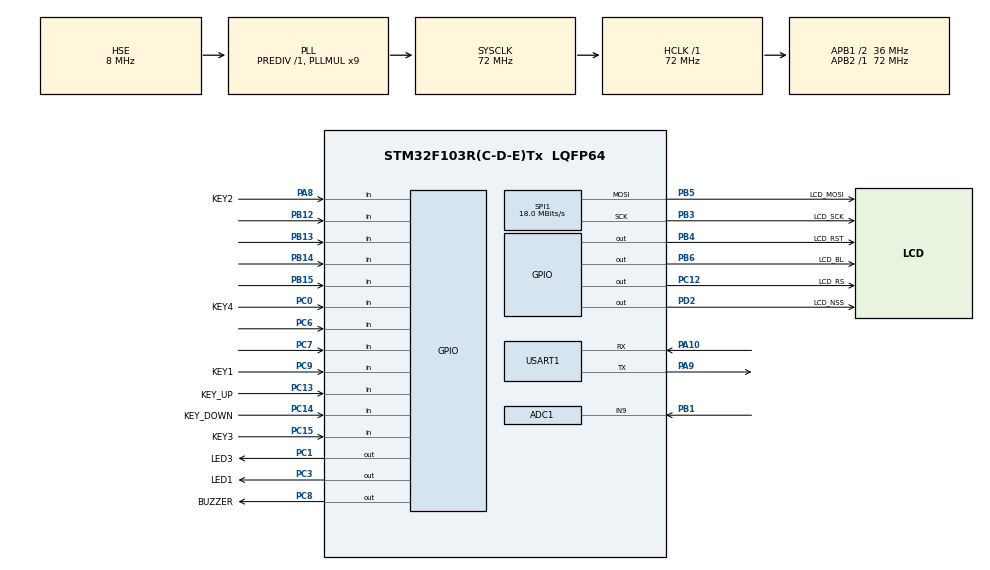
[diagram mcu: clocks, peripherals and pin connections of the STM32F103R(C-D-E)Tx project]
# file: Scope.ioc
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ADC1.Channel-0\#ChannelRegularConversion=ADC_CHANNEL_9
ADC1.Channel-1\#ChannelInjectedConversion=ADC_CHANNEL_9
ADC1.Channel-2\#ChannelInjectedConversion=ADC_CHANNEL_VREFINT
ADC1.EnableInjectedConversion=ENABLE
ADC1.ExternalTrigConv=ADC_EXTERNALTRIGCONV_T8_TRGO
ADC1.ExternalTrigInjecConv=ADC_EXTERNALTRIGINJECCONV_T2_TRGO
ADC1.InjNumberOfConversion=2
ADC1.InjectedOffset-1\#ChannelInjectedConversion=0
ADC1.InjectedOffset-2\#ChannelInjectedConversion=0
ADC1.InjectedRank-1\#ChannelInjectedConversion=1
ADC1.InjectedRank-2\#ChannelInjectedConversion=2
ADC1.NbrOfConversionFlag=1
ADC1.Rank-0\#ChannelRegularConversion=1
ADC1.SamplingTime-0\#ChannelRegularConversion=ADC_SAMPLETIME_1CYCLE_5
ADC1.SamplingTime-1\#ChannelInjectedConversion=ADC_SAMPLETIME_1CYCLE_5
ADC1.SamplingTime-2\#ChannelInjectedConversion=ADC_SAMPLETIME_239CYCLES_5
ADC1.master=1
Dma.Request0=SPI1_TX
Dma.SPI1_TX.0.Direction=DMA_MEMORY_TO_PERIPH
Dma.SPI1_TX.0.Instance=DMA1_Channel3
Dma.SPI1_TX.0.MemDataAlignment=DMA_MDATAALIGN_BYTE
Dma.SPI1_TX.0.MemInc=DMA_MINC_ENABLE
Dma.SPI1_TX.0.Mode=DMA_NORMAL
Dma.SPI1_TX.0.PeriphDataAlignment=DMA_PDATAALIGN_BYTE
Dma.SPI1_TX.0.PeriphInc=DMA_PINC_DISABLE
Dma.SPI1_TX.0.Priority=DMA_PRIORITY_LOW
Mcu.Family=STM32F1
Mcu.Name=STM32F103R(C-D-E)Tx
Mcu.Package=LQFP64
NVIC.ADC1_2_IRQn=true\:5\:0\:true\:false\:true\:true\:true\:true
NVIC.DMA1_Channel3_IRQn=true\:5\:0\:true\:false\:true\:false\:true\:true
NVIC.PriorityGroup=NVIC_PRIORITYGROUP_4
NVIC.TIM6_IRQn=true\:0\:0\:true\:false\:true\:false\:true\:true
NVIC.TimeBase=TIM6_IRQn
NVIC.TimeBaseIP=TIM6
PA10.Mode=Asynchronous
PA10.Signal=USART1_RX
PA13.Mode=Serial_Wire
PA13.Signal=SYS_JTMS-SWDIO
PA14.Mode=Serial_Wire
PA14.Signal=SYS_JTCK-SWCLK
PA8.GPIO_Label=KEY2
PA8.GPIO_PuPd=GPIO_PULLUP
PA8.Signal=GPIO_Input
PA9.Mode=Asynchronous
PA9.Signal=USART1_TX
PB1.Signal=ADCx_IN9
PB12.GPIO_PuPd=GPIO_PULLDOWN
PB12.Signal=GPIO_Input
PB13.GPIO_PuPd=GPIO_PULLDOWN
PB13.Signal=GPIO_Input
PB14.GPIO_PuPd=GPIO_PULLDOWN
PB14.Signal=GPIO_Input
PB15.GPIO_PuPd=GPIO_PULLDOWN
PB15.Signal=GPIO_Input
PB3.GPIO_Label=LCD_SCK
PB3.Mode=TX_Only_Simplex_Unidirect_Master
PB3.Signal=SPI1_SCK
PB4.GPIO_Label=LCD_RST
PB4.Signal=GPIO_Output
PB5.GPIO_Label=LCD_MOSI
PB5.Mode=TX_Only_Simplex_Unidirect_Master
PB5.Signal=SPI1_MOSI
PB6.GPIO_Label=LCD_BL
PB6.Signal=GPIO_Output
PC0.GPIO_Label=KEY4
PC0.GPIO_PuPd=GPIO_PULLUP
PC0.Signal=GPIO_Input
PC1.GPIO_Label=LED3
PC1.Signal=GPIO_Output
PC12.GPIO_Label=LCD_RS
PC12.Signal=GPIO_Output
PC13-TAMPER-RTC.GPIO_Label=KEY_UP
PC13-TAMPER-RTC.GPIO_PuPd=GPIO_PULLUP
PC13-TAMPER-RTC.Signal=GPIO_Input
PC14-OSC32_IN.GPIO_Label=KEY_DOWN
PC14-OSC32_IN.GPIO_PuPd=GPIO_PULLUP
PC14-OSC32_IN.Signal=GPIO_Input
PC15-OSC32_OUT.GPIO_Label=KEY3
PC15-OSC32_OUT.GPIO_PuPd=GPIO_PULLUP
PC15-OSC32_OUT.Signal=GPIO_Input
PC3.GPIO_Label=LED1
PC3.Signal=GPIO_Output
PC6.GPIO_PuPd=GPIO_PULLDOWN
PC6.Signal=GPIO_Input
PC7.GPIO_PuPd=GPIO_PULLDOWN
PC7.Signal=GPIO_Input
PC8.GPIO_Label=BUZZER
PC8.Signal=GPIO_Output
PC9.GPIO_Label=KEY1
PC9.GPIO_PuPd=GPIO_PULLUP
PC9.Signal=GPIO_Input
PD0-OSC_IN.Mode=HSE-External-Oscillator
PD0-OSC_IN.Signal=RCC_OSC_IN
PD1-OSC_OUT.Mode=HSE-External-Oscillator
PD1-OSC_OUT.Signal=RCC_OSC_OUT
PD2.GPIO_Label=LCD_NSS
PD2.PinState=GPIO_PIN_SET
PD2.Signal=GPIO_Output
ProjectManager.HeapSize=0x200
ProjectManager.StackSize=0x400
ProjectManager.TargetToolchain=STM32CubeIDE
RCC.ADCPresc=RCC_ADCPCLK2_DIV6
RCC.AHBFreq_Value=72000000
RCC.APB1CLKDivider=RCC_HCLK_DIV2
RCC.APB1Freq_Value=36000000
RCC.APB1TimFreq_Value=72000000
RCC.APB2Freq_Value=72000000
RCC.APB2TimFreq_Value=72000000
RCC.HCLKFreq_Value=72000000
RCC.PLLMUL=RCC_PLL_MUL9
RCC.PLLSourceVirtual=RCC_PLLSOURCE_HSE
RCC.SYSCLKFreq_VALUE=72000000
RCC.SYSCLKSource=RCC_SYSCLKSOURCE_PLLCLK
RCC.USBFreq_Value=72000000
SH.ADCx_IN9.0=ADC1_IN9,IN9
SPI1.BaudRatePrescaler=SPI_BAUDRATEPRESCALER_4
SPI1.CalculateBaudRate=18.0 MBits/s
SPI1.Direction=SPI_DIRECTION_2LINES
SPI1.Mode=SPI_MODE_MASTER
SPI1.VirtualType=VM_MASTER
TIM2.Period=999
TIM2.Prescaler=7199
TIM2.TIM_MasterOutputTrigger=TIM_TRGO_UPDATE
USART1.VirtualMode=VM_ASYNC
VP_ADC1_Vref_Input.Mode=IN-Vrefint
VP_SYS_VS_tim6.Mode=TIM6
VP_TIM2_VS_ClockSourceINT.Mode=Internal
board=custom

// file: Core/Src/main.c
/* USER CODE BEGIN Header */
/**
  ******************************************************************************
  * @file           : main.c
  * @brief          : Main program body
  ******************************************************************************
  * @attention
  *
  * Copyright (c) 2026 STMicroelectronics.
  * All rights reserved.
  *
  * This software is licensed under terms that can be found in the LICENSE file
  * in the root directory of this software component.
  * If no LICENSE file comes with this software, it is provided AS-IS.
  *
  ******************************************************************************
  */
/* USER CODE END Header */
#include "main.h"

/* USER CODE BEGIN Includes */
#include "FreeRTOS.h"
#include "task.h"
#include "key_task.h"
#include "buzzer_task.h"
#include "lcd_task.h"
#include "dmm.h"
/* USER CODE END Includes */

ADC_HandleTypeDef hadc1;

SPI_HandleTypeDef hspi1;
DMA_HandleTypeDef hdma_spi1_tx;

TIM_HandleTypeDef htim2;

UART_HandleTypeDef huart1;

void SystemClock_Config(void);
static void MX_GPIO_Init(void);
static void MX_DMA_Init(void);
static void MX_USART1_UART_Init(void);
static void MX_SPI1_Init(void);
static void MX_ADC1_Init(void);
static void MX_TIM2_Init(void);

/* USER CODE BEGIN 0 */
static void vLED1Task(void *pvParameters)
{
    for (;;)
    {
        HAL_GPIO_WritePin(LED1_GPIO_Port, LED1_Pin, GPIO_PIN_SET);
        vTaskDelay(pdMS_TO_TICKS(100));
        HAL_GPIO_WritePin(LED1_GPIO_Port, LED1_Pin, GPIO_PIN_RESET);
        vTaskDelay(pdMS_TO_TICKS(100));
    }
}
/* USER CODE END 0 */

int main(void)
{

  /* MCU Configuration--------------------------------------------------------*/

  /* Reset of all peripherals, Initializes the Flash interface and the Systick. */
  HAL_Init();

  /* Configure the system clock */
  SystemClock_Config();

  /* Initialize all configured peripherals */
  MX_GPIO_Init();
  MX_DMA_Init();
  MX_USART1_UART_Init();
  MX_SPI1_Init();
  MX_ADC1_Init();
  MX_TIM2_Init();
  /* USER CODE BEGIN 2 */
  Buzzer_Init();
  LCDTask_Init();
  DMM_Init();

  xTaskCreate(keyTask, "Key Task", 128, NULL, 3, NULL);
  xTaskCreate(vBuzzerTask, "Buzzer Task", 32, NULL, 1, NULL);
  xTaskCreate(vLCDTask, "LCD Task", 256, NULL, 2, NULL);
  xTaskCreate(vLED1Task, "LED1 Task", 32, NULL, 1, NULL);
  vTaskStartScheduler();
  /* USER CODE END 2 */

  /* Infinite loop */
  while (1)
  {

  }
}

void SystemClock_Config(void)
{
  RCC_OscInitTypeDef RCC_OscInitStruct = {0};
  RCC_ClkInitTypeDef RCC_ClkInitStruct = {0};
  RCC_PeriphCLKInitTypeDef PeriphClkInit = {0};

  /** Initializes the RCC Oscillators according to the specified parameters
  * in the RCC_OscInitTypeDef structure.
  */
  RCC_OscInitStruct.OscillatorType = RCC_OSCILLATORTYPE_HSE;
  RCC_OscInitStruct.HSEState = RCC_HSE_ON;
  RCC_OscInitStruct.HSEPredivValue = RCC_HSE_PREDIV_DIV1;
  RCC_OscInitStruct.HSIState = RCC_HSI_ON;
  RCC_OscInitStruct.PLL.PLLState = RCC_PLL_ON;
  RCC_OscInitStruct.PLL.PLLSource = RCC_PLLSOURCE_HSE;
  RCC_OscInitStruct.PLL.PLLMUL = RCC_PLL_MUL9;
  if (HAL_RCC_OscConfig(&RCC_OscInitStruct) != HAL_OK)
  {
    Error_Handler();
  }

  /** Initializes the CPU, AHB and APB buses clocks
  */
  RCC_ClkInitStruct.ClockType = RCC_CLOCKTYPE_HCLK|RCC_CLOCKTYPE_SYSCLK
                              |RCC_CLOCKTYPE_PCLK1|RCC_CLOCKTYPE_PCLK2;
  RCC_ClkInitStruct.SYSCLKSource = RCC_SYSCLKSOURCE_PLLCLK;
  RCC_ClkInitStruct.AHBCLKDivider = RCC_SYSCLK_DIV1;
  RCC_ClkInitStruct.APB1CLKDivider = RCC_HCLK_DIV2;
  RCC_ClkInitStruct.APB2CLKDivider = RCC_HCLK_DIV1;

  if (HAL_RCC_ClockConfig(&RCC_ClkInitStruct, FLASH_LATENCY_2) != HAL_OK)
  {
    Error_Handler();
  }
  PeriphClkInit.PeriphClockSelection = RCC_PERIPHCLK_ADC;
  PeriphClkInit.AdcClockSelection = RCC_ADCPCLK2_DIV6;
  if (HAL_RCCEx_PeriphCLKConfig(&PeriphClkInit) != HAL_OK)
  {
    Error_Handler();
  }
}

static void MX_ADC1_Init(void)
{

  ADC_ChannelConfTypeDef sConfig = {0};
  ADC_InjectionConfTypeDef sConfigInjected = {0};

  /** Common config
  */
  hadc1.Instance = ADC1;
  hadc1.Init.ScanConvMode = ADC_SCAN_ENABLE;
  hadc1.Init.ContinuousConvMode = DISABLE;
  hadc1.Init.DiscontinuousConvMode = DISABLE;
  hadc1.Init.ExternalTrigConv = ADC_EXTERNALTRIGCONV_T8_TRGO;
  hadc1.Init.DataAlign = ADC_DATAALIGN_RIGHT;
  hadc1.Init.NbrOfConversion = 1;
  if (HAL_ADC_Init(&hadc1) != HAL_OK)
  {
    Error_Handler();
  }

  /** Enable or disable the remapping of ADC1_ETRGREG:
  * ADC1 External Event regular conversion is connected to TIM8 TRG0
  */
  __HAL_AFIO_REMAP_ADC1_ETRGREG_ENABLE();

  /** Configure Regular Channel
  */
  sConfig.Channel = ADC_CHANNEL_9;
  sConfig.Rank = ADC_REGULAR_RANK_1;
  sConfig.SamplingTime = ADC_SAMPLETIME_1CYCLE_5;
  if (HAL_ADC_ConfigChannel(&hadc1, &sConfig) != HAL_OK)
  {
    Error_Handler();
  }

  /** Configure Injected Channel
  */
  sConfigInjected.InjectedChannel = ADC_CHANNEL_9;
  sConfigInjected.InjectedRank = ADC_INJECTED_RANK_1;
  sConfigInjected.InjectedNbrOfConversion = 2;
  sConfigInjected.InjectedSamplingTime = ADC_SAMPLETIME_1CYCLE_5;
  sConfigInjected.ExternalTrigInjecConv = ADC_EXTERNALTRIGINJECCONV_T2_TRGO;
  sConfigInjected.AutoInjectedConv = DISABLE;
  sConfigInjected.InjectedDiscontinuousConvMode = DISABLE;
  sConfigInjected.InjectedOffset = 0;
  if (HAL_ADCEx_InjectedConfigChannel(&hadc1, &sConfigInjected) != HAL_OK)
  {
    Error_Handler();
  }

  /** Configure Injected Channel
  */
  sConfigInjected.InjectedChannel = ADC_CHANNEL_VREFINT;
  sConfigInjected.InjectedRank = ADC_INJECTED_RANK_2;
  sConfigInjected.InjectedSamplingTime = ADC_SAMPLETIME_239CYCLES_5;
  if (HAL_ADCEx_InjectedConfigChannel(&hadc1, &sConfigInjected) != HAL_OK)
  {
    Error_Handler();
  }

}

static void MX_SPI1_Init(void)
{

  /* SPI1 parameter configuration*/
  hspi1.Instance = SPI1;
  hspi1.Init.Mode = SPI_MODE_MASTER;
  hspi1.Init.Direction = SPI_DIRECTION_2LINES;
  hspi1.Init.DataSize = SPI_DATASIZE_8BIT;
  hspi1.Init.CLKPolarity = SPI_POLARITY_LOW;
  hspi1.Init.CLKPhase = SPI_PHASE_1EDGE;
  hspi1.Init.NSS = SPI_NSS_SOFT;
  hspi1.Init.BaudRatePrescaler = SPI_BAUDRATEPRESCALER_4;
  hspi1.Init.FirstBit = SPI_FIRSTBIT_MSB;
  hspi1.Init.TIMode = SPI_TIMODE_DISABLE;
  hspi1.Init.CRCCalculation = SPI_CRCCALCULATION_DISABLE;
  hspi1.Init.CRCPolynomial = 10;
  if (HAL_SPI_Init(&hspi1) != HAL_OK)
  {
    Error_Handler();
  }

}

static void MX_TIM2_Init(void)
{

  TIM_ClockConfigTypeDef sClockSourceConfig = {0};
  TIM_MasterConfigTypeDef sMasterConfig = {0};

  htim2.Instance = TIM2;
  htim2.Init.Prescaler = 7199;
  htim2.Init.CounterMode = TIM_COUNTERMODE_UP;
  htim2.Init.Period = 999;
  htim2.Init.ClockDivision = TIM_CLOCKDIVISION_DIV1;
  htim2.Init.AutoReloadPreload = TIM_AUTORELOAD_PRELOAD_DISABLE;
  if (HAL_TIM_Base_Init(&htim2) != HAL_OK)
  {
    Error_Handler();
  }
  sClockSourceConfig.ClockSource = TIM_CLOCKSOURCE_INTERNAL;
  if (HAL_TIM_ConfigClockSource(&htim2, &sClockSourceConfig) != HAL_OK)
  {
    Error_Handler();
  }
  sMasterConfig.MasterOutputTrigger = TIM_TRGO_UPDATE;
  sMasterConfig.MasterSlaveMode = TIM_MASTERSLAVEMODE_DISABLE;
  if (HAL_TIMEx_MasterConfigSynchronization(&htim2, &sMasterConfig) != HAL_OK)
  {
    Error_Handler();
  }

}

static void MX_USART1_UART_Init(void)
{

  huart1.Instance = USART1;
  huart1.Init.BaudRate = 115200;
  huart1.Init.WordLength = UART_WORDLENGTH_8B;
  huart1.Init.StopBits = UART_STOPBITS_1;
  huart1.Init.Parity = UART_PARITY_NONE;
  huart1.Init.Mode = UART_MODE_TX_RX;
  huart1.Init.HwFlowCtl = UART_HWCONTROL_NONE;
  huart1.Init.OverSampling = UART_OVERSAMPLING_16;
  if (HAL_UART_Init(&huart1) != HAL_OK)
  {
    Error_Handler();
  }

}

static void MX_DMA_Init(void)
{

  /* DMA controller clock enable */
  __HAL_RCC_DMA1_CLK_ENABLE();

  /* DMA interrupt init */
  /* DMA1_Channel3_IRQn interrupt configuration */
  HAL_NVIC_SetPriority(DMA1_Channel3_IRQn, 5, 0);
  HAL_NVIC_EnableIRQ(DMA1_Channel3_IRQn);

}

static void MX_GPIO_Init(void)
{
  GPIO_InitTypeDef GPIO_InitStruct = {0};

  /* GPIO Ports Clock Enable */
  __HAL_RCC_GPIOC_CLK_ENABLE();
  __HAL_RCC_GPIOD_CLK_ENABLE();
  __HAL_RCC_GPIOB_CLK_ENABLE();
  __HAL_RCC_GPIOA_CLK_ENABLE();

  /*Configure GPIO pin Output Level */
  HAL_GPIO_WritePin(GPIOC, LED3_Pin|LED1_Pin|BUZZER_Pin|LCD_RS_Pin, GPIO_PIN_RESET);

  /*Configure GPIO pin Output Level */
  HAL_GPIO_WritePin(LCD_NSS_GPIO_Port, LCD_NSS_Pin, GPIO_PIN_SET);

  /*Configure GPIO pin Output Level */
  HAL_GPIO_WritePin(GPIOB, LCD_RST_Pin|LCD_BL_Pin, GPIO_PIN_RESET);

  /*Configure GPIO pins : KEY_UP_Pin KEY_DOWN_Pin KEY3_Pin KEY4_Pin
                           KEY1_Pin */
  GPIO_InitStruct.Pin = KEY_UP_Pin|KEY_DOWN_Pin|KEY3_Pin|KEY4_Pin
                          |KEY1_Pin;
  GPIO_InitStruct.Mode = GPIO_MODE_INPUT;
  GPIO_InitStruct.Pull = GPIO_PULLUP;
  HAL_GPIO_Init(GPIOC, &GPIO_InitStruct);

  /*Configure GPIO pins : LED3_Pin LED1_Pin BUZZER_Pin LCD_RS_Pin */
  GPIO_InitStruct.Pin = LED3_Pin|LED1_Pin|BUZZER_Pin|LCD_RS_Pin;
  GPIO_InitStruct.Mode = GPIO_MODE_OUTPUT_PP;
  GPIO_InitStruct.Pull = GPIO_NOPULL;
  GPIO_InitStruct.Speed = GPIO_SPEED_FREQ_LOW;
  HAL_GPIO_Init(GPIOC, &GPIO_InitStruct);

  /*Configure GPIO pins : PB12 PB13 PB14 PB15 */
  GPIO_InitStruct.Pin = GPIO_PIN_12|GPIO_PIN_13|GPIO_PIN_14|GPIO_PIN_15;
  GPIO_InitStruct.Mode = GPIO_MODE_INPUT;
  GPIO_InitStruct.Pull = GPIO_PULLDOWN;
  HAL_GPIO_Init(GPIOB, &GPIO_InitStruct);

  /*Configure GPIO pins : PC6 PC7 */
  GPIO_InitStruct.Pin = GPIO_PIN_6|GPIO_PIN_7;
  GPIO_InitStruct.Mode = GPIO_MODE_INPUT;
  GPIO_InitStruct.Pull = GPIO_PULLDOWN;
  HAL_GPIO_Init(GPIOC, &GPIO_InitStruct);

  /*Configure GPIO pin : KEY2_Pin */
  GPIO_InitStruct.Pin = KEY2_Pin;
  GPIO_InitStruct.Mode = GPIO_MODE_INPUT;
  GPIO_InitStruct.Pull = GPIO_PULLUP;
  HAL_GPIO_Init(KEY2_GPIO_Port, &GPIO_InitStruct);

  /*Configure GPIO pin : LCD_NSS_Pin */
  GPIO_InitStruct.Pin = LCD_NSS_Pin;
  GPIO_InitStruct.Mode = GPIO_MODE_OUTPUT_PP;
  GPIO_InitStruct.Pull = GPIO_NOPULL;
  GPIO_InitStruct.Speed = GPIO_SPEED_FREQ_LOW;
  HAL_GPIO_Init(LCD_NSS_GPIO_Port, &GPIO_InitStruct);

  /*Configure GPIO pins : LCD_RST_Pin LCD_BL_Pin */
  GPIO_InitStruct.Pin = LCD_RST_Pin|LCD_BL_Pin;
  GPIO_InitStruct.Mode = GPIO_MODE_OUTPUT_PP;
  GPIO_InitStruct.Pull = GPIO_NOPULL;
  GPIO_InitStruct.Speed = GPIO_SPEED_FREQ_LOW;
  HAL_GPIO_Init(GPIOB, &GPIO_InitStruct);

}

void HAL_TIM_PeriodElapsedCallback(TIM_HandleTypeDef *htim)
{
  if (htim->Instance == TIM6)
  {
    HAL_IncTick();
  }
}

void Error_Handler(void)
{
  __disable_irq();
  while (1)
  {
  }
}
